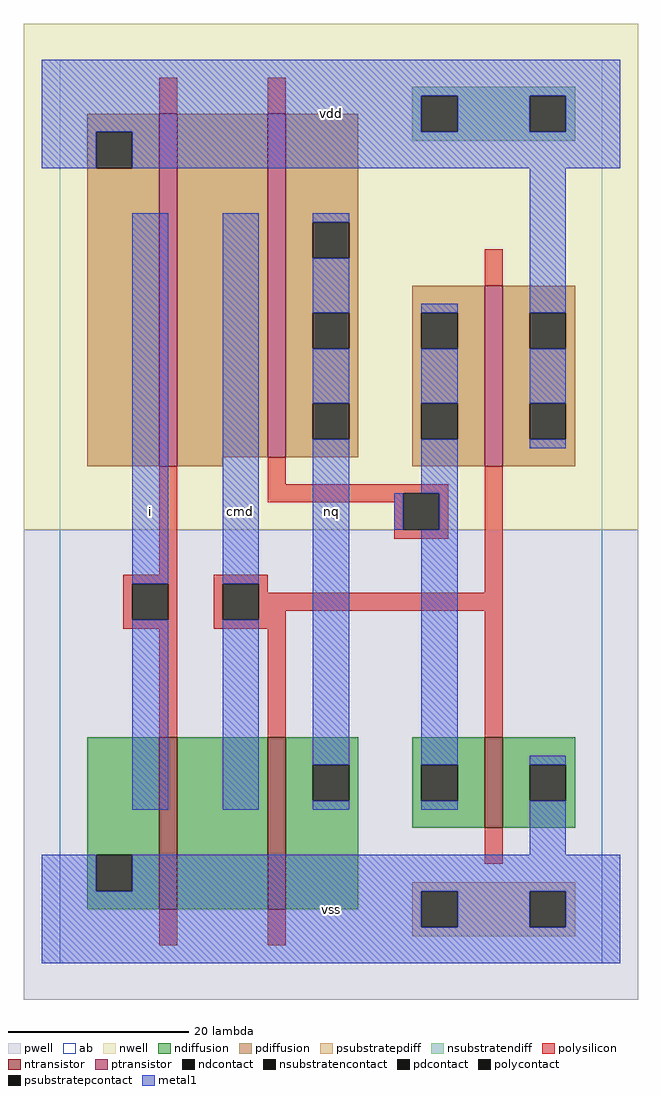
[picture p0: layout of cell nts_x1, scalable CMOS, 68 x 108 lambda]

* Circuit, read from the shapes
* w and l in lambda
.subckt nts_x1 cmd i nq vdd vss
M1 n1 i vss vss nfet w=19 l=2
M2 nq cmd n1 vss nfet w=19 l=2
M3 vss cmd n2 vss nfet w=10 l=2
M4 n3 i vdd vdd pfet w=39 l=2
M5 nq n2 n3 vdd pfet w=38 l=2
M6 vdd cmd n2 vdd pfet w=20 l=2
.ends

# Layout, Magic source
magic
tech scmos
<< ab >>
rect 0 0 60 100
<< pwell >>
rect -4 -4 64 48
<< nwell >>
rect -4 48 64 104
<< polysilicon >>
rect 11 94 13 98
rect 23 94 25 98
rect 47 75 49 79
rect 11 43 13 55
rect 23 53 25 56
rect 23 52 43 53
rect 23 51 38 52
rect 37 48 38 51
rect 42 48 43 52
rect 37 47 43 48
rect 7 42 13 43
rect 7 38 8 42
rect 12 38 13 42
rect 7 37 13 38
rect 17 42 23 43
rect 17 38 18 42
rect 22 41 23 42
rect 47 41 49 55
rect 22 39 49 41
rect 22 38 25 39
rect 17 37 25 38
rect 11 25 13 37
rect 23 25 25 37
rect 47 25 49 39
rect 47 11 49 15
rect 11 2 13 6
rect 23 2 25 6
<< ndiffusion >>
rect 3 12 11 25
rect 3 8 4 12
rect 8 8 11 12
rect 3 6 11 8
rect 13 6 23 25
rect 25 22 33 25
rect 25 18 28 22
rect 32 18 33 22
rect 25 6 33 18
rect 39 22 47 25
rect 39 18 40 22
rect 44 18 47 22
rect 39 15 47 18
rect 49 22 57 25
rect 49 18 52 22
rect 56 18 57 22
rect 49 15 57 18
<< pdiffusion >>
rect 3 92 11 94
rect 3 88 4 92
rect 8 88 11 92
rect 3 55 11 88
rect 13 56 23 94
rect 25 82 33 94
rect 25 78 28 82
rect 32 78 33 82
rect 25 72 33 78
rect 25 68 28 72
rect 32 68 33 72
rect 25 62 33 68
rect 25 58 28 62
rect 32 58 33 62
rect 25 56 33 58
rect 39 72 47 75
rect 39 68 40 72
rect 44 68 47 72
rect 39 62 47 68
rect 39 58 40 62
rect 44 58 47 62
rect 13 55 18 56
rect 39 55 47 58
rect 49 72 57 75
rect 49 68 52 72
rect 56 68 57 72
rect 49 62 57 68
rect 49 58 52 62
rect 56 58 57 62
rect 49 55 57 58
<< metal1 >>
rect -2 96 62 100
rect -2 92 40 96
rect 44 92 52 96
rect 56 92 62 96
rect -2 88 4 92
rect 8 88 62 92
rect 8 42 12 83
rect 8 17 12 38
rect 18 42 22 83
rect 18 17 22 38
rect 28 82 32 83
rect 28 72 32 78
rect 28 62 32 68
rect 28 22 32 58
rect 40 72 44 73
rect 40 62 44 68
rect 40 52 44 58
rect 52 72 56 88
rect 52 62 56 68
rect 52 57 56 58
rect 37 48 38 52
rect 42 48 44 52
rect 28 17 32 18
rect 40 22 44 48
rect 40 17 44 18
rect 52 22 56 23
rect 52 12 56 18
rect -2 8 4 12
rect 8 8 62 12
rect -2 4 40 8
rect 44 4 52 8
rect 56 4 62 8
rect -2 0 62 4
<< ntransistor >>
rect 11 6 13 25
rect 23 6 25 25
rect 47 15 49 25
<< ptransistor >>
rect 11 55 13 94
rect 23 56 25 94
rect 47 55 49 75
<< polycontact >>
rect 38 48 42 52
rect 8 38 12 42
rect 18 38 22 42
<< ndcontact >>
rect 4 8 8 12
rect 28 18 32 22
rect 40 18 44 22
rect 52 18 56 22
<< pdcontact >>
rect 4 88 8 92
rect 28 78 32 82
rect 28 68 32 72
rect 28 58 32 62
rect 40 68 44 72
rect 40 58 44 62
rect 52 68 56 72
rect 52 58 56 62
<< psubstratepcontact >>
rect 40 4 44 8
rect 52 4 56 8
<< nsubstratencontact >>
rect 40 92 44 96
rect 52 92 56 96
<< psubstratepdiff >>
rect 39 8 57 9
rect 39 4 40 8
rect 44 4 52 8
rect 56 4 57 8
rect 39 3 57 4
<< nsubstratendiff >>
rect 39 96 57 97
rect 39 92 40 96
rect 44 92 52 96
rect 56 92 57 96
rect 39 91 57 92
<< labels >>
rlabel metal1 10 50 10 50 6 i
rlabel metal1 20 50 20 50 6 cmd
rlabel metal1 30 6 30 6 6 vss
rlabel metal1 30 50 30 50 6 nq
rlabel metal1 30 94 30 94 6 vdd
<< end >>
